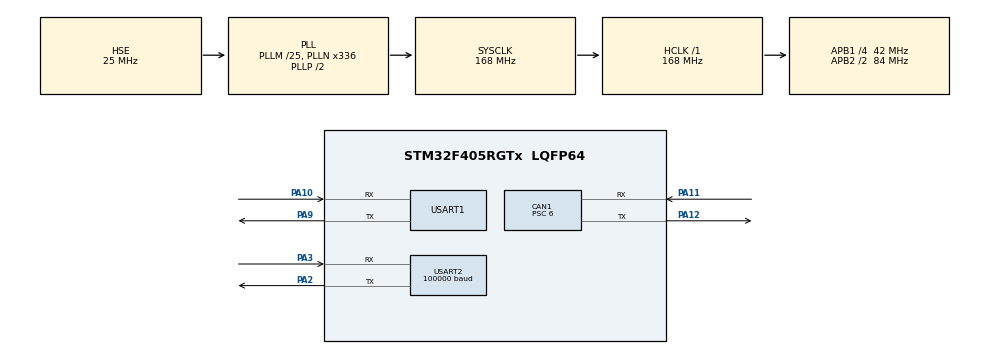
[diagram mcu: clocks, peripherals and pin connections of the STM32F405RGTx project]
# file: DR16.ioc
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CAN1.BS1=CAN_BS1_4TQ
CAN1.BS2=CAN_BS2_2TQ
CAN1.CalculateBaudRate=1000000
CAN1.CalculateTimeBit=1000
CAN1.CalculateTimeQuantum=142.85714285714286
CAN1.Prescaler=6
Dma.Request0=USART2_RX
Dma.Request1=USART2_TX
Dma.USART2_RX.0.Direction=DMA_PERIPH_TO_MEMORY
Dma.USART2_RX.0.FIFOMode=DMA_FIFOMODE_DISABLE
Dma.USART2_RX.0.Instance=DMA1_Stream5
Dma.USART2_RX.0.MemDataAlignment=DMA_MDATAALIGN_BYTE
Dma.USART2_RX.0.MemInc=DMA_MINC_ENABLE
Dma.USART2_RX.0.Mode=DMA_CIRCULAR
Dma.USART2_RX.0.PeriphDataAlignment=DMA_PDATAALIGN_BYTE
Dma.USART2_RX.0.PeriphInc=DMA_PINC_DISABLE
Dma.USART2_RX.0.Priority=DMA_PRIORITY_VERY_HIGH
Dma.USART2_TX.1.Direction=DMA_MEMORY_TO_PERIPH
Dma.USART2_TX.1.FIFOMode=DMA_FIFOMODE_DISABLE
Dma.USART2_TX.1.Instance=DMA1_Stream6
Dma.USART2_TX.1.MemDataAlignment=DMA_MDATAALIGN_BYTE
Dma.USART2_TX.1.MemInc=DMA_MINC_ENABLE
Dma.USART2_TX.1.Mode=DMA_NORMAL
Dma.USART2_TX.1.PeriphDataAlignment=DMA_PDATAALIGN_BYTE
Dma.USART2_TX.1.PeriphInc=DMA_PINC_DISABLE
Dma.USART2_TX.1.Priority=DMA_PRIORITY_LOW
FREERTOS.BinarySemaphores01=myBinarySem01,Dynamic,NULL
FREERTOS.INCLUDE_vTaskDelayUntil=1
FREERTOS.Tasks01=defaultTask,0,128,StartDefaultTask,Default,NULL,Dynamic,NULL,NULL;control,0,128,DR16_control,Default,NULL,Dynamic,NULL,NULL
Mcu.Family=STM32F4
Mcu.Name=STM32F405RGTx
Mcu.Package=LQFP64
NVIC.DMA1_Stream5_IRQn=true\:5\:0\:false\:false\:true\:true\:false\:true\:true
NVIC.DMA1_Stream6_IRQn=true\:5\:0\:false\:false\:true\:true\:false\:true\:true
NVIC.PriorityGroup=NVIC_PRIORITYGROUP_4
NVIC.TIM1_BRK_TIM9_IRQn=true\:15\:0\:false\:false\:true\:false\:false\:true\:true
NVIC.TimeBase=TIM1_BRK_TIM9_IRQn
NVIC.TimeBaseIP=TIM9
NVIC.USART2_IRQn=true\:5\:0\:false\:false\:true\:true\:true\:true\:true
PA10.Mode=Asynchronous
PA10.Signal=USART1_RX
PA11.Mode=CAN_Activate
PA11.Signal=CAN1_RX
PA12.Mode=CAN_Activate
PA12.Signal=CAN1_TX
PA13.Mode=Serial_Wire
PA13.Signal=SYS_JTMS-SWDIO
PA14.Mode=Serial_Wire
PA14.Signal=SYS_JTCK-SWCLK
PA2.Mode=Asynchronous
PA2.Signal=USART2_TX
PA3.Mode=Asynchronous
PA3.Signal=USART2_RX
PA9.Mode=Asynchronous
PA9.Signal=USART1_TX
PC14-OSC32_IN.Mode=LSE-External-Oscillator
PC14-OSC32_IN.Signal=RCC_OSC32_IN
PC15-OSC32_OUT.Mode=LSE-External-Oscillator
PC15-OSC32_OUT.Signal=RCC_OSC32_OUT
PH0-OSC_IN.Mode=HSE-External-Oscillator
PH0-OSC_IN.Signal=RCC_OSC_IN
PH1-OSC_OUT.Mode=HSE-External-Oscillator
PH1-OSC_OUT.Signal=RCC_OSC_OUT
ProjectManager.HeapSize=0x200
ProjectManager.StackSize=0x400
ProjectManager.TargetToolchain=MDK-ARM V5.32
RCC.48MHZClocksFreq_Value=84000000
RCC.AHBFreq_Value=168000000
RCC.APB1CLKDivider=RCC_HCLK_DIV4
RCC.APB1Freq_Value=42000000
RCC.APB1TimFreq_Value=84000000
RCC.APB2CLKDivider=RCC_HCLK_DIV2
RCC.APB2Freq_Value=84000000
RCC.APB2TimFreq_Value=168000000
RCC.CortexFreq_Value=168000000
RCC.HCLKFreq_Value=168000000
RCC.HSE_VALUE=25000000
RCC.HSI_VALUE=16000000
RCC.PLLM=25
RCC.PLLN=336
RCC.PLLSourceVirtual=RCC_PLLSOURCE_HSE
RCC.SYSCLKFreq_VALUE=168000000
RCC.SYSCLKSource=RCC_SYSCLKSOURCE_PLLCLK
RCC.VCOOutputFreq_Value=336000000
USART1.VirtualMode=VM_ASYNC
USART2.BaudRate=100000
USART2.Parity=PARITY_EVEN
USART2.VirtualMode=VM_ASYNC
VP_FREERTOS_VS_CMSIS_V1.Mode=CMSIS_V1
VP_SYS_VS_tim9.Mode=TIM9
board=custom

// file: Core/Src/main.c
/* USER CODE BEGIN Header */
/**
  ******************************************************************************
  * @file           : main.c
  * @brief          : Main program body
  ******************************************************************************
  * @attention
  *
  * Copyright (c) 2024 STMicroelectronics.
  * All rights reserved.
  *
  * This software is licensed under terms that can be found in the LICENSE file
  * in the root directory of this software component.
  * If no LICENSE file comes with this software, it is provided AS-IS.
  *
  ******************************************************************************
  */
/* USER CODE END Header */
#include "main.h"
#include "cmsis_os.h"

/* USER CODE BEGIN Includes */
#include "DR16_control.h"
#include "stdio.h"
#include "freertos.h"
#include "task.h"
#include "string.h"
/* USER CODE END Includes */

/* USER CODE BEGIN PTD */
#define  LENGTH  18

/* USER CODE END PTD */

/* USER CODE BEGIN PD */
extern volatile unsigned char sbus_rx_buffer[2][RC_FRAME_LENGTH];
extern uint16_t count_1;
extern uint16_t count_2;

uint8_t RxBuffer[LENGTH];
uint8_t RecCount = 0;
uint8_t RxFlag = 0;

/* USER CODE END PD */

/* USER CODE BEGIN PM */
float feedbackValue;
float feedbackValue1;
float targetValue = 0;

uint32_t RxID;
uint8_t RxLength = 8;
uint8_t RxData[8];

int16_t Speed;

float alpha = 0.05;  // 平滑因子

QueueHandle_t QueueHandler;
/* USER CODE END PM */

CAN_HandleTypeDef hcan1;

UART_HandleTypeDef huart1;
UART_HandleTypeDef huart2;
DMA_HandleTypeDef hdma_usart2_rx;
DMA_HandleTypeDef hdma_usart2_tx;

osThreadId defaultTaskHandle;
osThreadId controlHandle;
osSemaphoreId myBinarySem01Handle;

void SystemClock_Config(void);
static void MX_GPIO_Init(void);
static void MX_DMA_Init(void);
static void MX_USART2_UART_Init(void);
static void MX_CAN1_Init(void);
static void MX_USART1_UART_Init(void);
void StartDefaultTask(void const * argument);
void DR16_control(void const * argument);

/* USER CODE BEGIN 0 */
typedef struct
{
  float kp, ki, kd;            // 三个系数
  float error, lastError;      // 误差、上次误�??????
  float integral, maxIntegral; // 积分、积分限�??????
  float output, maxOutput;     // 输出、输出限�??????
} PID;

// 用于初始化pid参数的函�??????
void PID_Init(PID *pid, float p, float i, float d, float maxI, float maxOut)
{
  pid->kp = p;
  pid->ki = i;
  pid->kd = d;
  pid->maxIntegral = maxI;
  pid->maxOutput = maxOut;
}

// 进行�??????次pid计算
// 参数�??????(pid结构�??????,目标�??????,反馈�??????)，计算结果放在pid结构体的output成员成员�??????
void PID_Calc(PID *pid, float reference, float feedback)
{
  // 更新数据
  pid->lastError = pid->error;       // 将旧error存起�??????
  pid->error = reference - feedback; // 计算新error
  // 计算微分
  static float dout;
  dout = (pid->error - pid->lastError) * pid->kd;
  // 计算比例
  static float pout;
  pout = pid->error * pid->kp;
  // 计算积分
  pid->integral += pid->error;
  static float iout;
  iout = pid->integral * pid->ki;
  // 积分限幅
  if (pid->integral > pid->maxIntegral)
    pid->integral = pid->maxIntegral;
  else if (pid->integral < -pid->maxIntegral)
    pid->integral = -pid->maxIntegral;
  // 计算输出
  pid->output = pout + dout + iout;
  // 输出限幅
  if (pid->output > pid->maxOutput)
    pid->output = pid->maxOutput;
  else if (pid->output < -pid->maxOutput)
    pid->output = -pid->maxOutput;
}

float emaFilter(float input, float *prev_ema, float alpha)
{
  // 计算新的 EMA �??
  *prev_ema = alpha * input + (1.0f - alpha) * (*prev_ema);
  return *prev_ema;
}

void FilterInit(void)
{
  CAN_FilterTypeDef CAN_FilterInitStructure;
  CAN_FilterInitStructure.FilterActivation = ENABLE;
  CAN_FilterInitStructure.FilterBank = 0;
  CAN_FilterInitStructure.FilterFIFOAssignment = CAN_FILTER_FIFO0;
  CAN_FilterInitStructure.FilterIdHigh = 0x0000;
  CAN_FilterInitStructure.FilterIdLow = 0x0000;
  CAN_FilterInitStructure.FilterMaskIdHigh = 0x0000;
  CAN_FilterInitStructure.FilterMaskIdLow = 0x0000;
  CAN_FilterInitStructure.FilterMode = CAN_FILTERMODE_IDMASK;
  CAN_FilterInitStructure.FilterScale = CAN_FILTERSCALE_32BIT;
  CAN_FilterInitStructure.SlaveStartFilterBank = 0;
  HAL_CAN_ConfigFilter(&hcan1, &CAN_FilterInitStructure);

  if (HAL_CAN_ConfigFilter(&hcan1, &CAN_FilterInitStructure) != HAL_OK)
  {
    //  printf("CAN1 ConfigFilter Fail!!\r\n");
  }
  else
  {
    // printf("CAN1 ConfigFilter SUCCESS!!\r\n");
  }
}

void CAN1_Transmit(uint32_t ID, uint8_t Length, uint8_t *Data)
{
  CAN_TxHeaderTypeDef TxMessage = {0};
  uint8_t Tx_Buffer[8] = {0};
  uint32_t box = 0;
  TxMessage.StdId = ID;
  TxMessage.ExtId = ID;
  TxMessage.IDE = CAN_ID_STD;
  TxMessage.RTR = CAN_RTR_DATA;
  TxMessage.DLC = Length;
  TxMessage.TransmitGlobalTime = DISABLE;
  for (uint8_t i = 0; i < Length; i++)
  {
    Tx_Buffer[i] = Data[i];
  }
  HAL_StatusTypeDef TransmitMailbox;
  TransmitMailbox = HAL_CAN_AddTxMessage(&hcan1, &TxMessage, Tx_Buffer, &box);
  if (TransmitMailbox != HAL_OK)
  {
    //	printf("Transmit Error!");
  }
  else
  {
    // printf("Transmit Success!\r\n");
  }

  // vTaskDelayUntil(&xLastWakeTime,1000);
}

uint8_t CAN1_ReceiveFlag(void)
{
  if (HAL_CAN_GetRxFifoFillLevel(&hcan1, CAN_RX_FIFO0) != 0)
  {
    //	printf("CAN1 has some Message");
    return 1;
  }
  return 0;
}

void CAN1_Receive(uint32_t *ID, uint8_t *Length, uint8_t *Data)
{
  //		FilterInit();

  CAN_RxHeaderTypeDef rceStu = {0};
  if (CAN1_ReceiveFlag() != 0)
  {
    if (HAL_CAN_GetRxMessage(&hcan1, CAN_RX_FIFO0, &rceStu, Data) == HAL_OK)
    {
      // printf("rceStu.DLC: %d\r\n",rceStu.DLC);
      // printf("rceStu.ExtId: %d\r\n",rceStu.ExtId);
      // printf("rceStu.StdId: %x\r\n",rceStu.StdId);
      // printf("rceStu.Timestamp: %d\r\n",rceStu.Timestamp);
      for (uint8_t i = 0; i < rceStu.DLC; i++)
      {
        // printf(" %x",Data[i]);
      }
      //printf("\r\n");
    }
  }
  else
  {
    // printf("No CAN1 INFO!\r\n");
  }
}

//void HAL_CAN_RxFifo0MsgPendingCallback(CAN_HandleTypeDef *hcan)
//{
 // if(hcan->Instance == CAN1)
 // {
//   CAN1_Receive(&RxID, &RxLength, RxData);
//  }

//}

 PID mypid = {0};

/* USER CODE END 0 */

int main(void)
{
  /* USER CODE BEGIN 1 */

  QueueHandler = xQueueCreate(20, 20);
  if (QueueHandler == NULL)
  {
    printf("error");
  }
  /* USER CODE END 1 */

  /* MCU Configuration--------------------------------------------------------*/

  /* Reset of all peripherals, Initializes the Flash interface and the Systick. */
  HAL_Init();

  /* Configure the system clock */
  SystemClock_Config();

  /* Initialize all configured peripherals */
  MX_GPIO_Init();
  MX_DMA_Init();
  MX_USART2_UART_Init();
  MX_CAN1_Init();
  MX_USART1_UART_Init();

  /* Create the semaphores(s) */
  /* definition and creation of myBinarySem01 */
  osSemaphoreDef(myBinarySem01);
  myBinarySem01Handle = osSemaphoreCreate(osSemaphore(myBinarySem01), 1);

  /* Create the thread(s) */
  /* definition and creation of defaultTask */
  osThreadDef(defaultTask, StartDefaultTask, osPriorityNormal, 0, 128);
  defaultTaskHandle = osThreadCreate(osThread(defaultTask), NULL);

  /* definition and creation of control */
  osThreadDef(control, DR16_control, osPriorityNormal, 0, 128);
  controlHandle = osThreadCreate(osThread(control), NULL);

  /* Start scheduler */
  osKernelStart();
  /* We should never get here as control is now taken by the scheduler */
  /* Infinite loop */
  while (1)
  {

  }
}

void SystemClock_Config(void)
{
  RCC_OscInitTypeDef RCC_OscInitStruct = {0};
  RCC_ClkInitTypeDef RCC_ClkInitStruct = {0};

  /** Configure the main internal regulator output voltage
  */
  __HAL_RCC_PWR_CLK_ENABLE();
  __HAL_PWR_VOLTAGESCALING_CONFIG(PWR_REGULATOR_VOLTAGE_SCALE1);

  /** Initializes the RCC Oscillators according to the specified parameters
  * in the RCC_OscInitTypeDef structure.
  */
  RCC_OscInitStruct.OscillatorType = RCC_OSCILLATORTYPE_HSE;
  RCC_OscInitStruct.HSEState = RCC_HSE_ON;
  RCC_OscInitStruct.PLL.PLLState = RCC_PLL_ON;
  RCC_OscInitStruct.PLL.PLLSource = RCC_PLLSOURCE_HSE;
  RCC_OscInitStruct.PLL.PLLM = 25;
  RCC_OscInitStruct.PLL.PLLN = 336;
  RCC_OscInitStruct.PLL.PLLP = RCC_PLLP_DIV2;
  RCC_OscInitStruct.PLL.PLLQ = 4;
  if (HAL_RCC_OscConfig(&RCC_OscInitStruct) != HAL_OK)
  {
    Error_Handler();
  }

  /** Initializes the CPU, AHB and APB buses clocks
  */
  RCC_ClkInitStruct.ClockType = RCC_CLOCKTYPE_HCLK|RCC_CLOCKTYPE_SYSCLK
                              |RCC_CLOCKTYPE_PCLK1|RCC_CLOCKTYPE_PCLK2;
  RCC_ClkInitStruct.SYSCLKSource = RCC_SYSCLKSOURCE_PLLCLK;
  RCC_ClkInitStruct.AHBCLKDivider = RCC_SYSCLK_DIV1;
  RCC_ClkInitStruct.APB1CLKDivider = RCC_HCLK_DIV4;
  RCC_ClkInitStruct.APB2CLKDivider = RCC_HCLK_DIV2;

  if (HAL_RCC_ClockConfig(&RCC_ClkInitStruct, FLASH_LATENCY_5) != HAL_OK)
  {
    Error_Handler();
  }
}

static void MX_CAN1_Init(void)
{

  hcan1.Instance = CAN1;
  hcan1.Init.Prescaler = 6;
  hcan1.Init.Mode = CAN_MODE_NORMAL;
  hcan1.Init.SyncJumpWidth = CAN_SJW_1TQ;
  hcan1.Init.TimeSeg1 = CAN_BS1_4TQ;
  hcan1.Init.TimeSeg2 = CAN_BS2_2TQ;
  hcan1.Init.TimeTriggeredMode = DISABLE;
  hcan1.Init.AutoBusOff = DISABLE;
  hcan1.Init.AutoWakeUp = DISABLE;
  hcan1.Init.AutoRetransmission = DISABLE;
  hcan1.Init.ReceiveFifoLocked = DISABLE;
  hcan1.Init.TransmitFifoPriority = DISABLE;
  if (HAL_CAN_Init(&hcan1) != HAL_OK)
  {
    Error_Handler();
  }

}

static void MX_USART1_UART_Init(void)
{

  huart1.Instance = USART1;
  huart1.Init.BaudRate = 115200;
  huart1.Init.WordLength = UART_WORDLENGTH_8B;
  huart1.Init.StopBits = UART_STOPBITS_1;
  huart1.Init.Parity = UART_PARITY_NONE;
  huart1.Init.Mode = UART_MODE_TX_RX;
  huart1.Init.HwFlowCtl = UART_HWCONTROL_NONE;
  huart1.Init.OverSampling = UART_OVERSAMPLING_16;
  if (HAL_UART_Init(&huart1) != HAL_OK)
  {
    Error_Handler();
  }

}

static void MX_USART2_UART_Init(void)
{

  huart2.Instance = USART2;
  huart2.Init.BaudRate = 100000;
  huart2.Init.WordLength = UART_WORDLENGTH_8B;
  huart2.Init.StopBits = UART_STOPBITS_1;
  huart2.Init.Parity = UART_PARITY_EVEN;
  huart2.Init.Mode = UART_MODE_TX_RX;
  huart2.Init.HwFlowCtl = UART_HWCONTROL_NONE;
  huart2.Init.OverSampling = UART_OVERSAMPLING_16;
  if (HAL_UART_Init(&huart2) != HAL_OK)
  {
    Error_Handler();
  }

}

static void MX_DMA_Init(void)
{

  /* DMA controller clock enable */
  __HAL_RCC_DMA1_CLK_ENABLE();

  /* DMA interrupt init */
  /* DMA1_Stream5_IRQn interrupt configuration */
  HAL_NVIC_SetPriority(DMA1_Stream5_IRQn, 5, 0);
  HAL_NVIC_EnableIRQ(DMA1_Stream5_IRQn);
  /* DMA1_Stream6_IRQn interrupt configuration */
  HAL_NVIC_SetPriority(DMA1_Stream6_IRQn, 5, 0);
  HAL_NVIC_EnableIRQ(DMA1_Stream6_IRQn);

}

static void MX_GPIO_Init(void)
{

  /* GPIO Ports Clock Enable */
  __HAL_RCC_GPIOC_CLK_ENABLE();
  __HAL_RCC_GPIOH_CLK_ENABLE();
  __HAL_RCC_GPIOA_CLK_ENABLE();

}

/* USER CODE BEGIN 4 */
void HAL_UART_RxCpltCallback(UART_HandleTypeDef *huart)
{
	if(huart -> Instance == USART2)
	{
		HAL_UART_Receive_DMA(&huart2,(uint8_t*)RxBuffer,LENGTH);
	}
}

void HAL_UART_IdleCpltCallback(UART_HandleTypeDef *huart)
{
	BaseType_t xHigherPriorityTaskWoken = pdFALSE;

	xSemaphoreGiveFromISR(myBinarySem01Handle,&xHigherPriorityTaskWoken);
//	xSemaphoreGive(myBinarySem01Handle);

	RxFlag = 1;
	HAL_UART_DMAStop(&huart2);			//关闭DMA，每次空闲都会进函数

	  if(RxFlag == 1)
	  {
			RxFlag = 0;
		  RecCount = LENGTH - __HAL_DMA_GET_COUNTER(&hdma_usart2_rx);
		//	printf("%s\r\n",RxBuffer);
		  RecCount = 0;
			HAL_UART_Receive_DMA(&huart2,(uint8_t*)RxBuffer,LENGTH);
	  }

}

int fputc(int ch, FILE *f)               //重定向fputc函数
{
	HAL_UART_Transmit(&huart1,(uint8_t *)&ch,1,HAL_MAX_DELAY);
	return ch;
}

int fgetc(FILE *f)               //重定向fgetc函数
{
	uint8_t ch;
	HAL_UART_Receive(&huart1,(uint8_t *)&ch,1,HAL_MAX_DELAY);
	return ch;
}
/* USER CODE END 4 */

void StartDefaultTask(void const * argument)		//遥控保护
{
  /* USER CODE BEGIN 5 */
	uint32_t tick_1 = 0;
	uint32_t tick_2 = 0;
	uint32_t tick_interval = 0;
  /* Infinite loop */
  for(;;)
  {
		tick_2 = HAL_GetTick();		//获取当前时刻的tick值
		if(xSemaphoreTake(myBinarySem01Handle,100) == pdTRUE)
		tick_1 = HAL_GetTick();			//再次获取
		tick_interval = tick_1 - tick_2;	//判断两次tick之间的时间差

			if(tick_interval <= 100)		//如果小于等于100，说明在等待时间内获取了信号量
			{
				RemoteDataProcess((uint8_t*)RxBuffer);
			}
			else						//如果大于100，说明为超时退出
			{
				memset(&RC_CtrlData, 0, sizeof(RC_CtrlData));
			}
			xQueueSend(QueueHandler , &RC_CtrlData, 0);

    vTaskDelay(1);
  }
  /* USER CODE END 5 */
}

void DR16_control(void const * argument)
{
  /* USER CODE BEGIN DR16_control */
  __HAL_UART_ENABLE_IT(&huart2,UART_IT_IDLE);			//使能中断
  HAL_UART_Receive_DMA(&huart2,(uint8_t*)RxBuffer,LENGTH);		//�?启DMA中断

	uint32_t TxID = 0x1FF;
  uint8_t TxLength = 8;
  uint8_t TxData[8] = {0};
	uint8_t TxData_1[8] = {0};

  HAL_CAN_Start(&hcan1);

  FilterInit();

  PID_Init(&mypid, 3, 1, 5, 20000, 15000);

  float prev_ema = 0; // 初始 EMA �?

  /* Infinite loop */
  for(;;)
  {
		xQueueReceive(QueueHandler, &RC_CtrlData, 0);

		TickType_t xLastWakeTime;
    xLastWakeTime = xTaskGetTickCount();

		targetValue = RC_CtrlData.rc.ch0 * 25000 / 1300;

    CAN1_Receive(&RxID, &RxLength, RxData);
    Speed = (RxData[2] << 8) | RxData[3];

    feedbackValue = Speed; // 这里获取到被控对象的反馈�?

    float ema_result = emaFilter(feedbackValue, &prev_ema, alpha);

    PID_Calc(&mypid, targetValue, ema_result); // 进行PID计算，结果在output成员变量

    TxData[0] = (((int16_t)mypid.output) >> 8) & 0xff; // 右移八位是因�?16位数据只有后面八位可以存�?8位的数组
    TxData[1] = ((int16_t)mypid.output) & 0xff;

		CAN1_Transmit(TxID, TxLength, TxData);

     vTaskDelayUntil(&xLastWakeTime, 1);
  }
  /* USER CODE END DR16_control */
}

void HAL_TIM_PeriodElapsedCallback(TIM_HandleTypeDef *htim)
{
  if (htim->Instance == TIM9) {
    HAL_IncTick();
  }
}

void Error_Handler(void)
{
  __disable_irq();
  while (1)
  {
  }
}
